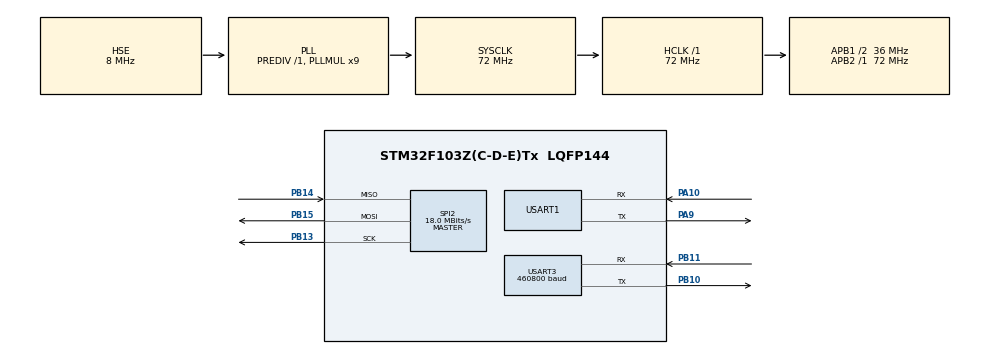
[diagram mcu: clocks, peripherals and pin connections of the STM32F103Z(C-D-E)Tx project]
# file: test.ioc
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FREERTOS.Tasks01=defaultTask,24,128,StartDefaultTask,Default,NULL,Dynamic,NULL,NULL
FREERTOS.configCHECK_FOR_STACK_OVERFLOW=1
FREERTOS.configTOTAL_HEAP_SIZE=20480
FREERTOS.configUSE_MALLOC_FAILED_HOOK=1
FREERTOS.configUSE_NEWLIB_REENTRANT=1
FREERTOS.configUSE_OS2_EVENTFLAGS_FROM_ISR=0
FREERTOS.configUSE_OS2_MUTEX=0
FREERTOS.configUSE_OS2_THREAD_ENUMERATE=0
FREERTOS.configUSE_OS2_THREAD_FLAGS=0
FREERTOS.configUSE_OS2_THREAD_SUSPEND_RESUME=0
FREERTOS.configUSE_OS2_TIMER=0
Mcu.Family=STM32F1
Mcu.Name=STM32F103Z(C-D-E)Tx
Mcu.Package=LQFP144
NVIC.PriorityGroup=NVIC_PRIORITYGROUP_4
NVIC.USART3_IRQn=true\:5\:0\:false\:false\:true\:true\:true\:true\:true
OSC_IN.Mode=HSE-External-Oscillator
OSC_IN.Signal=RCC_OSC_IN
OSC_OUT.Mode=HSE-External-Oscillator
OSC_OUT.Signal=RCC_OSC_OUT
PA10.Mode=Asynchronous
PA10.Signal=USART1_RX
PA13.Mode=Serial_Wire
PA13.Signal=SYS_JTMS-SWDIO
PA14.Mode=Serial_Wire
PA14.Signal=SYS_JTCK-SWCLK
PA9.Mode=Asynchronous
PA9.Signal=USART1_TX
PB10.Mode=Asynchronous
PB10.Signal=USART3_TX
PB11.Mode=Asynchronous
PB11.Signal=USART3_RX
PB13.Mode=Full_Duplex_Master
PB13.Signal=SPI2_SCK
PB14.Mode=Full_Duplex_Master
PB14.Signal=SPI2_MISO
PB15.Mode=Full_Duplex_Master
PB15.Signal=SPI2_MOSI
ProjectManager.HeapSize=0x400
ProjectManager.StackSize=0x1000
ProjectManager.TargetToolchain=STM32CubeIDE
RCC.AHBFreq_Value=72000000
RCC.APB1CLKDivider=RCC_HCLK_DIV2
RCC.APB1Freq_Value=36000000
RCC.APB1TimFreq_Value=72000000
RCC.APB2Freq_Value=72000000
RCC.APB2TimFreq_Value=72000000
RCC.HCLKFreq_Value=72000000
RCC.PLLMUL=RCC_PLL_MUL9
RCC.PLLSourceVirtual=RCC_PLLSOURCE_HSE
RCC.SYSCLKFreq_VALUE=72000000
RCC.SYSCLKSource=RCC_SYSCLKSOURCE_PLLCLK
RCC.USBFreq_Value=72000000
SPI2.CalculateBaudRate=18.0 MBits/s
SPI2.Direction=SPI_DIRECTION_2LINES
SPI2.Mode=SPI_MODE_MASTER
SPI2.VirtualType=VM_MASTER
USART1.VirtualMode=VM_ASYNC
USART3.BaudRate=460800
USART3.VirtualMode=VM_ASYNC
VP_FREERTOS_VS_CMSIS_V2.Mode=CMSIS_V2
board=custom

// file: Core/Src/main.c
/* USER CODE BEGIN Header */
/**
  ******************************************************************************
  * @file           : main.c
  * @brief          : Main program body
  ******************************************************************************
  * @attention
  *
  * Copyright (c) 2026 STMicroelectronics.
  * All rights reserved.
  *
  * This software is licensed under terms that can be found in the LICENSE file
  * in the root directory of this software component.
  * If no LICENSE file comes with this software, it is provided AS-IS.
  *
  ******************************************************************************
  */
/* USER CODE END Header */
#include "main.h"
#include "cmsis_os.h"

/* USER CODE BEGIN Includes */
#include <stdio.h>
/* USER CODE END Includes */

/* USER CODE BEGIN PD */
/* 原 CMSIS-RTOS v2 版的 DEFAULT_TASK_STACK_SIZE / DEFAULT_TASK_PRIORITY
   已删除：任务全部搬到 src/app/ ，用 FreeRTOS 原生 API + 静态分配创建
   （见 src/app/main.c 的 app_start() 与 src/app/init/init_thread.c）。 */
/* USER CODE END PD */

SPI_HandleTypeDef hspi2;

UART_HandleTypeDef huart1;
UART_HandleTypeDef huart3;

/* Definitions for defaultTask */
osThreadId_t defaultTaskHandle;
const osThreadAttr_t defaultTask_attributes = {
  .name = "defaultTask",
  .stack_size = 128 * 4,
  .priority = (osPriority_t) osPriorityNormal,
};
/* USER CODE BEGIN PV */
/* defaultTask 由 CubeMX 根据 .ioc 的 FREERTOS.Tasks01 生成（osThreadNew +
   osDelay(1) 空转）。应用侧真正干活的任务由 src/app/main.c 的
   app_start() 创建。
   如需去掉这个空转任务：CubeMX → FreeRTOS → Tasks and Queues 里删掉
   defaultTask 后重新生成 —— 它占的 512B 栈与每毫秒唤醒一次的开销会一并消失。 */
/* USER CODE END PV */

void SystemClock_Config(void);
static void MX_GPIO_Init(void);
static void MX_USART1_UART_Init(void);
static void MX_USART3_UART_Init(void);
static void MX_SPI2_Init(void);
void StartDefaultTask(void *argument);

/* USER CODE BEGIN PFP */
/* 应用入口（RealFreeRTOS 任务由它创建）。实现在 src/app/main.c */
extern void app_start(void);
/* USER CODE END PFP */

int main(void)
{

  /* MCU Configuration--------------------------------------------------------*/

  /* Reset of all peripherals, Initializes the Flash interface and the Systick. */
  HAL_Init();

  /* Configure the system clock */
  SystemClock_Config();

  /* Initialize all configured peripherals */
  MX_GPIO_Init();
  MX_USART1_UART_Init();
  MX_USART3_UART_Init();
  MX_SPI2_Init();
  /* USER CODE BEGIN 2 */
  /* 应用侧任务不在这个位置创建 —— 应该放到下面 USER CODE RTOS_THREADS 区
     （osKernelInitialize() 之后、osKernelStart() 之前），那才是 CubeMX 给的
     “加任务”位置，且此时内核状态已是 KernelReady。 */
  /* USER CODE END 2 */

  /* Init scheduler */
  osKernelInitialize();

  /* Create the thread(s) */
  /* creation of defaultTask */
  defaultTaskHandle = osThreadNew(StartDefaultTask, NULL, &defaultTask_attributes);

  /* USER CODE BEGIN RTOS_THREADS */
  /* 应用侧的 init 任务（xTaskCreate 动态分配：栈与 TCB 来自 FreeRTOS 堆）。
     放在 osKernelInitialize() 之后、osKernelStart() 之前创建：此时 CMSIS 内核
     状态已为 KernelReady，语义正确；且本块是 CubeMX 保留的 USER CODE，
     重新生成代码不会丢失。实现在 src/app/main.c，栈/优先级也在那里定义。 */
  app_start();
  /* USER CODE END RTOS_THREADS */

  /* Start scheduler */
  osKernelStart();

  /* We should never get here as control is now taken by the scheduler */

  /* Infinite loop */
  while (1)
  {

  }
}

void SystemClock_Config(void)
{
  RCC_OscInitTypeDef RCC_OscInitStruct = {0};
  RCC_ClkInitTypeDef RCC_ClkInitStruct = {0};

  /** Initializes the RCC Oscillators according to the specified parameters
  * in the RCC_OscInitTypeDef structure.
  */
  RCC_OscInitStruct.OscillatorType = RCC_OSCILLATORTYPE_HSE;
  RCC_OscInitStruct.HSEState = RCC_HSE_ON;
  RCC_OscInitStruct.HSEPredivValue = RCC_HSE_PREDIV_DIV1;
  RCC_OscInitStruct.HSIState = RCC_HSI_ON;
  RCC_OscInitStruct.PLL.PLLState = RCC_PLL_ON;
  RCC_OscInitStruct.PLL.PLLSource = RCC_PLLSOURCE_HSE;
  RCC_OscInitStruct.PLL.PLLMUL = RCC_PLL_MUL9;
  if (HAL_RCC_OscConfig(&RCC_OscInitStruct) != HAL_OK)
  {
    Error_Handler();
  }

  /** Initializes the CPU, AHB and APB buses clocks
  */
  RCC_ClkInitStruct.ClockType = RCC_CLOCKTYPE_HCLK|RCC_CLOCKTYPE_SYSCLK
                              |RCC_CLOCKTYPE_PCLK1|RCC_CLOCKTYPE_PCLK2;
  RCC_ClkInitStruct.SYSCLKSource = RCC_SYSCLKSOURCE_PLLCLK;
  RCC_ClkInitStruct.AHBCLKDivider = RCC_SYSCLK_DIV1;
  RCC_ClkInitStruct.APB1CLKDivider = RCC_HCLK_DIV2;
  RCC_ClkInitStruct.APB2CLKDivider = RCC_HCLK_DIV1;

  if (HAL_RCC_ClockConfig(&RCC_ClkInitStruct, FLASH_LATENCY_2) != HAL_OK)
  {
    Error_Handler();
  }
}

static void MX_SPI2_Init(void)
{

  /* SPI2 parameter configuration*/
  hspi2.Instance = SPI2;
  hspi2.Init.Mode = SPI_MODE_MASTER;
  hspi2.Init.Direction = SPI_DIRECTION_2LINES;
  hspi2.Init.DataSize = SPI_DATASIZE_8BIT;
  hspi2.Init.CLKPolarity = SPI_POLARITY_LOW;
  hspi2.Init.CLKPhase = SPI_PHASE_1EDGE;
  hspi2.Init.NSS = SPI_NSS_SOFT;
  hspi2.Init.BaudRatePrescaler = SPI_BAUDRATEPRESCALER_2;
  hspi2.Init.FirstBit = SPI_FIRSTBIT_MSB;
  hspi2.Init.TIMode = SPI_TIMODE_DISABLE;
  hspi2.Init.CRCCalculation = SPI_CRCCALCULATION_DISABLE;
  hspi2.Init.CRCPolynomial = 10;
  if (HAL_SPI_Init(&hspi2) != HAL_OK)
  {
    Error_Handler();
  }

}

static void MX_USART1_UART_Init(void)
{

  huart1.Instance = USART1;
  huart1.Init.BaudRate = 115200;
  huart1.Init.WordLength = UART_WORDLENGTH_8B;
  huart1.Init.StopBits = UART_STOPBITS_1;
  huart1.Init.Parity = UART_PARITY_NONE;
  huart1.Init.Mode = UART_MODE_TX_RX;
  huart1.Init.HwFlowCtl = UART_HWCONTROL_NONE;
  huart1.Init.OverSampling = UART_OVERSAMPLING_16;
  if (HAL_UART_Init(&huart1) != HAL_OK)
  {
    Error_Handler();
  }

}

static void MX_USART3_UART_Init(void)
{

  huart3.Instance = USART3;
  huart3.Init.BaudRate = 460800;
  huart3.Init.WordLength = UART_WORDLENGTH_8B;
  huart3.Init.StopBits = UART_STOPBITS_1;
  huart3.Init.Parity = UART_PARITY_NONE;
  huart3.Init.Mode = UART_MODE_TX_RX;
  huart3.Init.HwFlowCtl = UART_HWCONTROL_NONE;
  huart3.Init.OverSampling = UART_OVERSAMPLING_16;
  if (HAL_UART_Init(&huart3) != HAL_OK)
  {
    Error_Handler();
  }

}

static void MX_GPIO_Init(void)
{

  /* GPIO Ports Clock Enable */
  __HAL_RCC_GPIOB_CLK_ENABLE();
  __HAL_RCC_GPIOA_CLK_ENABLE();

}

/* USER CODE BEGIN Header_StartDefaultTask */
/*
 * defaultTask —— CubeMX 按 .ioc 的 FREERTOS.Tasks01 生成的示例任务。
 *
 * 实际业务逻辑全部在 src/app/main.c 的 app_start() 创建的 init 任务里
 * （那个任务装配完成后会 vTaskDelete 自删）。本函数只有 osDelay(1) 空转，
 * 作用就退化成“证明系统还活着”的心跳。
 *
 * 不需要的话：CubeMX → FreeRTOS → Tasks and Queues 删掉 defaultTask
 * 再重新生成 —— 比手工改这里更持久（非 USER CODE 区会被重生成覆盖）。
 */
/* USER CODE END Header_StartDefaultTask */
void StartDefaultTask(void *argument)
{
  for(;;)
  {
    osDelay(1);
  }
}

void Error_Handler(void)
{
  __disable_irq();
  while (1)
  {
  }
}

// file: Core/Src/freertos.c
/* USER CODE BEGIN Header */
/**
  ******************************************************************************
  * File Name          : freertos.c
  * Description        : Code for freertos applications
  ******************************************************************************
  * @attention
  *
  * Copyright (c) 2026 STMicroelectronics.
  * All rights reserved.
  *
  * This software is licensed under terms that can be found in the LICENSE file
  * in the root directory of this software component.
  * If no LICENSE file comes with this software, it is provided AS-IS.
  *
  ******************************************************************************
  */
/* USER CODE END Header */

#include "FreeRTOS.h"
#include "task.h"
#include "main.h"

/* Hook prototypes */
void vApplicationStackOverflowHook(xTaskHandle xTask, signed char *pcTaskName);
void vApplicationMallocFailedHook(void);

/* USER CODE BEGIN 4 */
void vApplicationStackOverflowHook(xTaskHandle xTask, signed char *pcTaskName)
{
   /* Run time stack overflow checking is performed if
   configCHECK_FOR_STACK_OVERFLOW is defined to 1 or 2. This hook function is
   called if a stack overflow is detected. */
    (void)xTask;
    (void)pcTaskName;
    taskDISABLE_INTERRUPTS();
    for (;;)
    {
    }
}
/* USER CODE END 4 */

/* USER CODE BEGIN 5 */
void vApplicationMallocFailedHook(void)
{
   /* vApplicationMallocFailedHook() will only be called if
   configUSE_MALLOC_FAILED_HOOK is set to 1 in FreeRTOSConfig.h. It is a hook
   function that will get called if a call to pvPortMalloc() fails.
   pvPortMalloc() is called internally by the kernel whenever a task, queue,
   timer or semaphore is created. It is also called by various parts of the
   demo application. If heap_1.c or heap_2.c are used, then the size of the
   heap available to pvPortMalloc() is defined by configTOTAL_HEAP_SIZE in
   FreeRTOSConfig.h, and the xPortGetFreeHeapSize() API function can be used
   to query the size of free heap space that remains (although it does not
   provide information on how the remaining heap might be fragmented). */
    taskDISABLE_INTERRUPTS();
    for (;;)
    {
    }
}
/* USER CODE END 5 */

/* USER CODE BEGIN Application */

/* ================================================================
 *  configSUPPORT_STATIC_ALLOCATION = 1 时，FreeRTOS 要求应用提供
 *  空闲任务与软件定时器任务的静态内存。
 *
 *  不实现这两个回调的后果是 **链接期报 undefined reference**：
 *    tasks.c: undefined reference to `vApplicationGetIdleTaskMemory'
 *    timers.c: undefined reference to `vApplicationGetTimerTaskMemory'
 *
 *  为什么默认静态：本板只有 64KB SRAM，把这两个任务的内存也放进 .bss
 *  可以在 map 文件里逐项核对，不占 FreeRTOS 堆。
 * ================================================================ */

static StaticTask_t s_idle_tcb;
static StackType_t  s_idle_stack[configMINIMAL_STACK_SIZE];

#if (configUSE_TIMERS == 1)
static StaticTask_t s_timer_tcb;
static StackType_t  s_timer_stack[configTIMER_TASK_STACK_DEPTH];
#endif

void vApplicationGetIdleTaskMemory(StaticTask_t **ppxIdleTaskTCBBuffer,
                                   StackType_t **ppxIdleTaskStackBuffer,
                                   uint32_t *pulIdleTaskStackSize)
{
    *ppxIdleTaskTCBBuffer    = &s_idle_tcb;
    *ppxIdleTaskStackBuffer  = s_idle_stack;
    *pulIdleTaskStackSize    = (uint32_t)configMINIMAL_STACK_SIZE;
}

#if (configUSE_TIMERS == 1)
/* configUSE_TIMERS = 0 时本回调不需要 —— FreeRTOS 也不会引用它。
   保留在 #if 里是为了以后重新打开软件定时器时不必另找实现。 */
void vApplicationGetTimerTaskMemory(StaticTask_t **ppxTimerTaskTCBBuffer,
                                    StackType_t **ppxTimerTaskStackBuffer,
                                    uint32_t *pulTimerTaskStackSize)
{
    *ppxTimerTaskTCBBuffer   = &s_timer_tcb;
    *ppxTimerTaskStackBuffer = s_timer_stack;
    *pulTimerTaskStackSize   = (uint32_t)configTIMER_TASK_STACK_DEPTH;
}
#endif /* configUSE_TIMERS */
/* USER CODE END Application */
